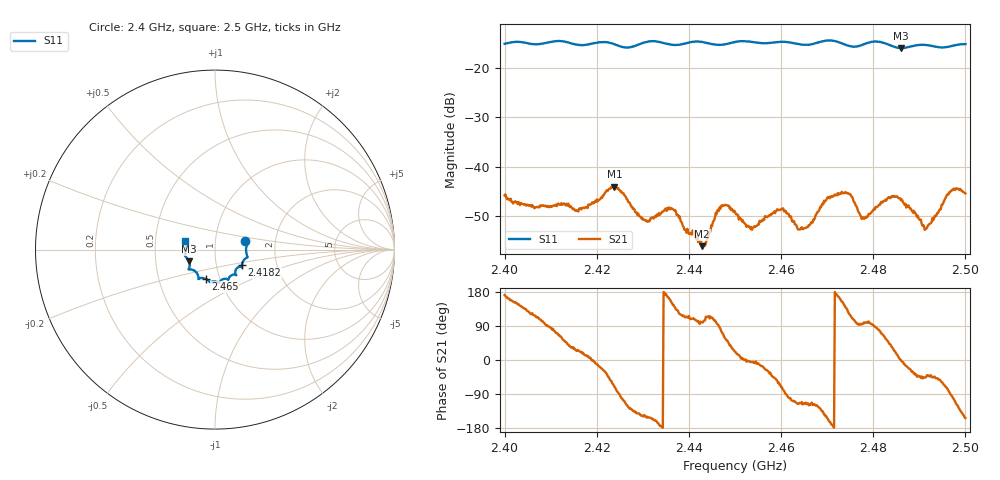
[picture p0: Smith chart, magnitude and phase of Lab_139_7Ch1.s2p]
# Hz S RI R 50
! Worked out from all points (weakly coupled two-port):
!   601 points, 2.4 GHz to 2.5 GHz, reference 50 ohm
!   highest |S21| = -44.05 dB at 2.4238 GHz (marker M1); lowest = -56.1 dB at 2.4428 GHz (marker M2)
!   lowest |S11| = -16.0 dB at 2.486 GHz (marker M3), VSWR 1.38, Z = 37.1 - j4.97 ohm
!   |S11| at or under -10 dB: start of sweep to end of sweep
!   S12 and S22 are empty: the file has one direction only
!   S11 on the Smith chart (normalised r, x): 2.4 GHz: 1.40, +0.13; 2.4182 GHz: 1.33, -0.23; 2.465 GHz: 0.86, -0.29; 2.5 GHz: 0.71, +0.07
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2.4e9  0.1688 0.0458  -0.00507 0.000775  0 0  0 0
2.416667e9  0.1548 -0.0685  0.00344 0.00137  0 0  0 0
2.418167e9  0.1498 -0.0851  0.00408 0.000702  0 0  0 0
2.423833e9  0.1438 -0.0963  0.00211 -0.00591  0 0  0 0
2.430167e9  0.1143 -0.1382  -0.00251 -0.0015  0 0  0 0
2.433333e9  0.1165 -0.1413  -0.00311 -0.000733  0 0  0 0
2.436667e9  0.0929 -0.1426  -0.00302 0.00209  0 0  0 0
2.442833e9  0.0726 -0.1675  -0.000278 0.00155  0 0  0 0
2.446667e9  0.0468 -0.1641  0.000281 0.00388  0 0  0 0
2.45e9  0.0251 -0.1807  0.00326 0.0013  0 0  0 0
2.453833e9  0.0149 -0.1815  0.00239 -0.000183  0 0  0 0
2.46e9  -0.0278 -0.1812  0.00119 -0.00352  0 0  0 0
2.465e9  -0.0528 -0.1622  -0.000982 -0.00217  0 0  0 0
2.466667e9  -0.0714 -0.1577  -0.00105 -0.00255  0 0  0 0
2.472833e9  -0.0923 -0.154  -0.00509 0.00175  0 0  0 0
2.475e9  -0.1017 -0.13  -0.00254 0.00464  0 0  0 0
2.478e9  -0.1328 -0.1111  -0.000487 0.00293  0 0  0 0
2.483333e9  -0.142 -0.0961  0.0034 0.00357  0 0  0 0
2.486e9  -0.144 -0.0653  0.00457 2.09e-05  0 0  0 0
2.4915e9  -0.167 -0.0307  0.00169 -0.00165  0 0  0 0
2.497e9  -0.1636 0.0276  -0.000383 -0.00572  0 0  0 0
2.5e9  -0.1668 0.047  -0.0048 -0.00242  0 0  0 0
